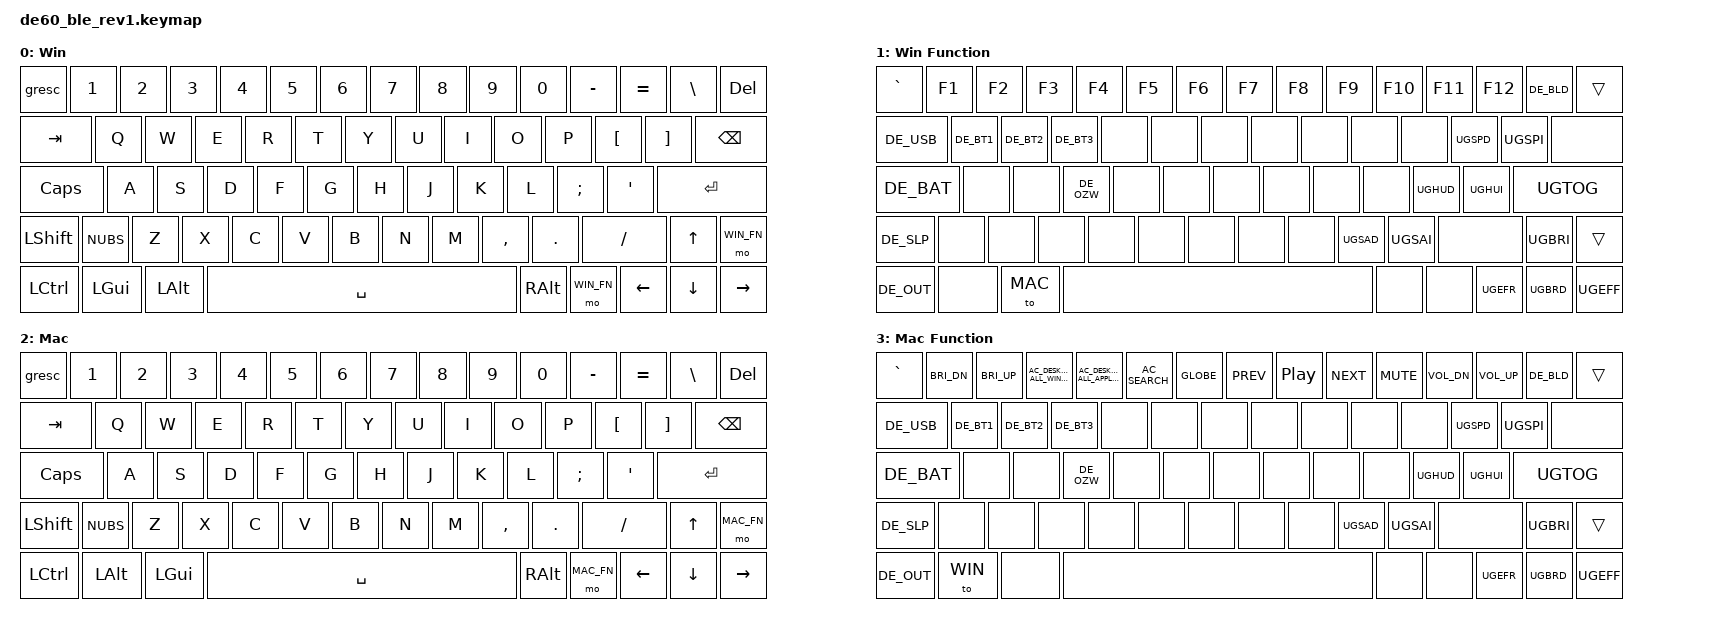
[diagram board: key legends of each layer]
/*
 * Copyright (c) 2026 DEKB
 * SPDX-License-Identifier: MIT
 */

#include "../common.keymap"

#define WIN 0
#define WIN_FN 1
#define MAC 2
#define MAC_FN 3

/ {
    keymap {
        compatible = "zmk,keymap";

        default_layer {
            label = "Win";
            bindings = <
&gresc     &kp N1    &kp N2    &kp N3    &kp N4    &kp N5    &kp N6    &kp N7    &kp N8    &kp N9    &kp N0    &kp MINUS &kp EQUAL &kp BSLH  &kp DEL
&kp TAB    &kp Q     &kp W     &kp E     &kp R     &kp T     &kp Y     &kp U     &kp I     &kp O     &kp P     &kp LBKT  &kp RBKT  &kp BSPC
&kp CAPS   &kp A     &kp S     &kp D     &kp F     &kp G     &kp H     &kp J     &kp K     &kp L     &kp SEMI  &kp SQT             &kp ENTER
&kp LSHFT  &kp NUBS  &kp Z     &kp X     &kp C     &kp V     &kp B     &kp N     &kp M     &kp COMMA &kp DOT   &kp FSLH  &kp UP    &mo WIN_FN
&kp LCTRL  &kp LGUI  &kp LALT                                &kp SPACE                     &kp RALT  &mo WIN_FN   &kp LEFT  &kp DOWN  &kp RIGHT
            >;
        };

        win_function_layer {
            label = "Win Function";
            bindings = <
&kp GRAVE &kp F1    &kp F2    &kp F3    &kp F4    &kp F5    &kp F6    &kp F7    &kp F8    &kp F9    &kp F10   &kp F11   &kp F12   &DE_BLD    &trans
&DE_USB   &DE_BT1   &DE_BT2   &DE_BT3   &none     &none     &none     &none     &none     &none     &none     &UGSPD    &UGSPI    &none
&DE_BAT   &none     &none     &DE_OZW   &none     &none     &none     &none     &none     &none     &UGHUD    &UGHUI              &UGTOG
&DE_SLP   &none     &none     &none     &none     &none     &none     &none     &none     &UGSAD    &UGSAI    &none     &UGBRI    &trans
&DE_OUT   &none     &to MAC                                 &none                         &none     &none     &UGEFR    &UGBRD    &UGEFF
            >;
        };

        mac_layer {
            label = "Mac";
            bindings = <
&gresc     &kp N1    &kp N2    &kp N3    &kp N4    &kp N5    &kp N6    &kp N7    &kp N8    &kp N9    &kp N0    &kp MINUS &kp EQUAL &kp BSLH  &kp DEL
&kp TAB    &kp Q     &kp W     &kp E     &kp R     &kp T     &kp Y     &kp U     &kp I     &kp O     &kp P     &kp LBKT  &kp RBKT  &kp BSPC
&kp CAPS   &kp A     &kp S     &kp D     &kp F     &kp G     &kp H     &kp J     &kp K     &kp L     &kp SEMI  &kp SQT             &kp ENTER
&kp LSHFT  &kp NUBS  &kp Z     &kp X     &kp C     &kp V     &kp B     &kp N     &kp M     &kp COMMA &kp DOT   &kp FSLH  &kp UP    &mo MAC_FN
&kp LCTRL  &kp LALT  &kp LGUI                                &kp SPACE                     &kp RALT  &mo MAC_FN   &kp LEFT  &kp DOWN  &kp RIGHT
            >;
        };

        mac_function_layer {
            label = "Mac Function";
            bindings = <
&kp GRAVE &kp C_BRI_DN &kp C_BRI_UP &kp C_AC_DESKTOP_SHOW_ALL_WINDOWS &kp C_AC_DESKTOP_SHOW_ALL_APPLICATIONS &kp C_AC_SEARCH &kp GLOBE &kp C_PREV &kp C_PP &kp C_NEXT &kp C_MUTE &kp C_VOL_DN &kp C_VOL_UP &DE_BLD &trans
&DE_USB   &DE_BT1   &DE_BT2   &DE_BT3   &none     &none     &none     &none     &none     &none     &none     &UGSPD    &UGSPI    &none
&DE_BAT   &none     &none     &DE_OZW   &none     &none     &none     &none     &none     &none     &UGHUD    &UGHUI              &UGTOG
&DE_SLP   &none     &none     &none     &none     &none     &none     &none     &none     &UGSAD    &UGSAI    &none     &UGBRI    &trans
&DE_OUT   &to WIN   &none                                   &none                         &none     &none     &UGEFR    &UGBRD    &UGEFF
            >;
        };

        layer_4 { status = "reserved"; };
        layer_5 { status = "reserved"; };

    };
};
